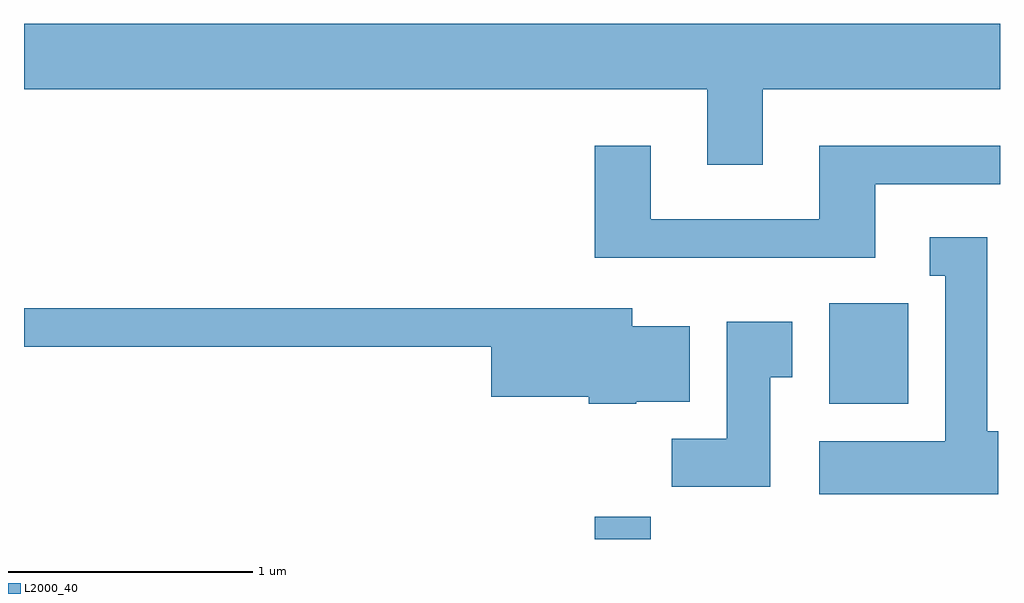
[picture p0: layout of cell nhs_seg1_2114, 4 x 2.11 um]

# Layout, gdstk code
import gdstk
lib = gdstk.Library(unit=1e-6, precision=1e-09)
def R(c, l, rs):  # rectangles x0, y0, x1, y1
    for r in rs: c.add(gdstk.rectangle(r[:2], r[2:], *l))
def P(c, l, *ps):  # polygons
    for p in ps: c.add(gdstk.Polygon(p, *l))
L2000_40 = (2000, 40)

nhs_seg1_2114 = lib.new_cell('nhs_seg1_2114')
R(nhs_seg1_2114, L2000_40, [(251.951,917.712,252.179,917.804), (252.911,918.266,253.234,918.679)])
P(nhs_seg1_2114, L2000_40, [(252.639,919.556),(253.611,919.556),(253.611,919.824),(249.611,919.824),(249.611,919.556),(252.411,919.556),(252.411,919.246),(252.639,919.246)],
  [(253.099,919.166),(253.611,919.166),(253.611,919.324),(252.871,919.324),(252.871,919.024),(252.179,919.024),(252.179,919.324),(251.951,919.324),(251.951,918.866),(253.099,918.866)],
  [(253.604,918.154),(253.559,918.154),(253.559,918.949),(253.323,918.949),(253.323,918.791),(253.386,918.791),(253.386,918.114),(252.871,918.114),(252.871,917.896),(253.604,917.896)],
  [(252.12,918.276),(252.339,918.276),(252.339,918.584),(252.104,918.584),(252.104,918.659),(249.611,918.659),(249.611,918.501),(251.526,918.501),(251.526,918.296),(251.926,918.296),(251.926,918.266),(252.12,918.266)],
  [(252.669,918.376),(252.759,918.376),(252.759,918.604),(252.491,918.604),(252.491,918.124),(252.266,918.124),(252.266,917.926),(252.669,917.926)])

lib.write_gds('nhs_seg1_2114.gds')
